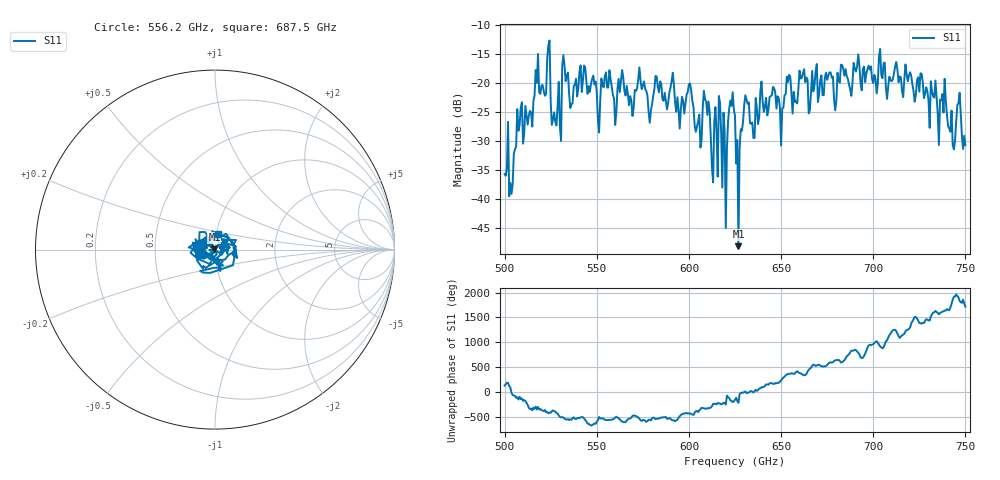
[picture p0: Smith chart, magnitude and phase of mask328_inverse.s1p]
!Created with skrf (http://scikit-rf.org).
# GHz S MA R 50.0
!freq magS11 angS11
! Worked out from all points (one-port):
!   401 points, 500 GHz to 750 GHz, reference 50 ohm
!   lowest |S11| = -48.2 dB at 626.9 GHz (marker M1), VSWR 1.01, Z = 49.7 + j0.218 ohm
!   |S11| at or under -10 dB: start of sweep to end of sweep
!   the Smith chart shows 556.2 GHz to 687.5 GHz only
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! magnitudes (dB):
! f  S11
! 500 GHz  -35.7
! 503.8 GHz  -39.1
! 508.1 GHz  -27.2
! 513.8 GHz  -24.8
! 517.5 GHz  -19.9
! 523.8 GHz  -13.4
! 526.9 GHz  -25.0
! 531.2 GHz  -17.1
! 562.5 GHz  -21.5
! 593.8 GHz  -22.4
! 600 GHz  -20.2
! 605.6 GHz  -25.4
! 609.4 GHz  -23.1
! 612.5 GHz  -34.6
! 617.5 GHz  -28.6
! 619.4 GHz  -28.2
! 622.5 GHz  -23.0
! 625 GHz  -25.6
! 626.9 GHz  -48.2
! 631.2 GHz  -22.8
! 634.4 GHz  -26.8
! 656.2 GHz  -25.2
! 687.5 GHz  -21.1
! 718.8 GHz  -19.7
! 738.1 GHz  -25.1
! 743.1 GHz  -30.7
! 746.2 GHz  -23.4
! 750 GHz  -30.7
